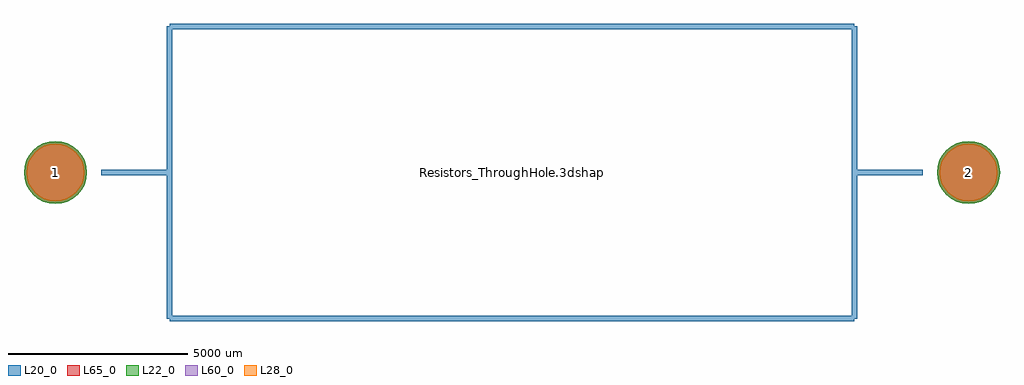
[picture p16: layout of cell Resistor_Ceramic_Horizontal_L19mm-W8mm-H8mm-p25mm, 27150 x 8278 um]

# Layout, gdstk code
import gdstk
lib = gdstk.Library(unit=1e-6, precision=1e-09)
def P(c, l, *ps):  # polygons
    for p in ps: c.add(gdstk.Polygon(p, *l))
L20_0 = (20, 0)
L22_0 = (22, 0)
L28_0 = (28, 0)
L60_0 = (60, 0)
L65_0 = (65, 0)

resistor_ceramic_horizon = lib.new_cell('Resistor_Ceramic_Horizontal_L19mm-W8mm-H8mm-p25mm')
P(resistor_ceramic_horizon, L22_0, [(13575,0),(13558.187,170.704),(13508.395,334.848),(13427.536,486.124),(13318.718,618.718),(13186.124,727.536),(13034.848,808.395),(12870.704,858.187),(12700,875),(12529.296,858.187),(12365.152,808.395),(12213.876,727.536),(12081.282,618.718),(11972.464,486.124),(11891.605,334.848),(11841.813,170.704),(11825,0),(11841.813,-170.704),(11891.605,-334.848),(11972.464,-486.124),(12081.282,-618.718),(12213.876,-727.536),(12365.152,-808.395),(12529.296,-858.187),(12700,-875),(12870.704,-858.187),(13034.848,-808.395),(13186.124,-727.536),(13318.718,-618.718),(13427.536,-486.124),(13508.395,-334.848),(13558.187,-170.704)],
  [(-11825,0),(-11841.813,170.704),(-11891.605,334.848),(-11972.464,486.124),(-12081.282,618.718),(-12213.876,727.536),(-12365.152,808.395),(-12529.296,858.187),(-12700,875),(-12870.704,858.187),(-13034.848,808.395),(-13186.124,727.536),(-13318.718,618.718),(-13427.536,486.124),(-13508.395,334.848),(-13558.187,170.704),(-13575,0),(-13558.187,-170.704),(-13508.395,-334.848),(-13427.536,-486.124),(-13318.718,-618.718),(-13186.124,-727.536),(-13034.848,-808.395),(-12870.704,-858.187),(-12700,-875),(-12529.296,-858.187),(-12365.152,-808.395),(-12213.876,-727.536),(-12081.282,-618.718),(-11972.464,-486.124),(-11891.605,-334.848),(-11841.813,-170.704)])
P(resistor_ceramic_horizon, L28_0, [(13500,0),(13484.628,156.072),(13439.104,306.147),(13365.176,444.456),(13265.685,565.685),(13144.456,665.176),(13006.147,739.104),(12856.072,784.628),(12700,800),(12543.928,784.628),(12393.853,739.104),(12255.544,665.176),(12134.315,565.685),(12034.824,444.456),(11960.896,306.147),(11915.372,156.072),(11900,0),(11915.372,-156.072),(11960.896,-306.147),(12034.824,-444.456),(12134.315,-565.685),(12255.544,-665.176),(12393.853,-739.104),(12543.928,-784.628),(12700,-800),(12856.072,-784.628),(13006.147,-739.104),(13144.456,-665.176),(13265.685,-565.685),(13365.176,-444.456),(13439.104,-306.147),(13484.628,-156.072)],
  [(-11900,0),(-11915.372,156.072),(-11960.896,306.147),(-12034.824,444.456),(-12134.315,565.685),(-12255.544,665.176),(-12393.853,739.104),(-12543.928,784.628),(-12700,800),(-12856.072,784.628),(-13006.147,739.104),(-13144.456,665.176),(-13265.685,565.685),(-13365.176,444.456),(-13439.104,306.147),(-13484.628,156.072),(-13500,0),(-13484.628,-156.072),(-13439.104,-306.147),(-13365.176,-444.456),(-13265.685,-565.685),(-13144.456,-665.176),(-13006.147,-739.104),(-12856.072,-784.628),(-12700,-800),(-12543.928,-784.628),(-12393.853,-739.104),(-12255.544,-665.176),(-12134.315,-565.685),(-12034.824,-444.456),(-11960.896,-306.147),(-11915.372,-156.072)])
P(resistor_ceramic_horizon, L60_0, [(13500,0),(13484.628,156.072),(13439.104,306.147),(13365.176,444.456),(13265.685,565.685),(13144.456,665.176),(13006.147,739.104),(12856.072,784.628),(12700,800),(12543.928,784.628),(12393.853,739.104),(12255.544,665.176),(12134.315,565.685),(12034.824,444.456),(11960.896,306.147),(11915.372,156.072),(11900,0),(11915.372,-156.072),(11960.896,-306.147),(12034.824,-444.456),(12134.315,-565.685),(12255.544,-665.176),(12393.853,-739.104),(12543.928,-784.628),(12700,-800),(12856.072,-784.628),(13006.147,-739.104),(13144.456,-665.176),(13265.685,-565.685),(13365.176,-444.456),(13439.104,-306.147),(13484.628,-156.072)],
  [(-11900,0),(-11915.372,156.072),(-11960.896,306.147),(-12034.824,444.456),(-12134.315,565.685),(-12255.544,665.176),(-12393.853,739.104),(-12543.928,784.628),(-12700,800),(-12856.072,784.628),(-13006.147,739.104),(-13144.456,665.176),(-13265.685,565.685),(-13365.176,444.456),(-13439.104,306.147),(-13484.628,156.072),(-13500,0),(-13484.628,-156.072),(-13439.104,-306.147),(-13365.176,-444.456),(-13265.685,-565.685),(-13144.456,-665.176),(-13006.147,-739.104),(-12856.072,-784.628),(-12700,-800),(-12543.928,-784.628),(-12393.853,-739.104),(-12255.544,-665.176),(-12134.315,-565.685),(-12034.824,-444.456),(-11960.896,-306.147),(-11915.372,-156.072)])
P(resistor_ceramic_horizon, L65_0, [(13575,0),(13558.187,170.704),(13508.395,334.848),(13427.536,486.124),(13318.718,618.718),(13186.124,727.536),(13034.848,808.395),(12870.704,858.187),(12700,875),(12529.296,858.187),(12365.152,808.395),(12213.876,727.536),(12081.282,618.718),(11972.464,486.124),(11891.605,334.848),(11841.813,170.704),(11825,0),(11841.813,-170.704),(11891.605,-334.848),(11972.464,-486.124),(12081.282,-618.718),(12213.876,-727.536),(12365.152,-808.395),(12529.296,-858.187),(12700,-875),(12870.704,-858.187),(13034.848,-808.395),(13186.124,-727.536),(13318.718,-618.718),(13427.536,-486.124),(13508.395,-334.848),(13558.187,-170.704)],
  [(-11825,0),(-11841.813,170.704),(-11891.605,334.848),(-11972.464,486.124),(-12081.282,618.718),(-12213.876,727.536),(-12365.152,808.395),(-12529.296,858.187),(-12700,875),(-12870.704,858.187),(-13034.848,808.395),(-13186.124,727.536),(-13318.718,618.718),(-13427.536,486.124),(-13508.395,334.848),(-13558.187,170.704),(-13575,0),(-13558.187,-170.704),(-13508.395,-334.848),(-13427.536,-486.124),(-13318.718,-618.718),(-13186.124,-727.536),(-13034.848,-808.395),(-12870.704,-858.187),(-12700,-875),(-12529.296,-858.187),(-12365.152,-808.395),(-12213.876,-727.536),(-12081.282,-618.718),(-11972.464,-486.124),(-11891.605,-334.848),(-11841.813,-170.704)])
resistor_ceramic_horizon.add(gdstk.FlexPath([(9525,4064),(-9525,4064)], 149.998, ends="flush", simple_path=True, layer=20, datatype=0))  # L20_0
resistor_ceramic_horizon.add(gdstk.FlexPath([(9525,-4064),(9525,4064)], 149.998, ends="flush", simple_path=True, layer=20, datatype=0))  # L20_0
resistor_ceramic_horizon.add(gdstk.FlexPath([(-9525,-4064),(9525,-4064)], 149.998, ends="flush", simple_path=True, layer=20, datatype=0))  # L20_0
resistor_ceramic_horizon.add(gdstk.FlexPath([(-9525,4064),(-9525,-4064)], 149.998, ends="flush", simple_path=True, layer=20, datatype=0))  # L20_0
resistor_ceramic_horizon.add(gdstk.FlexPath([(-9525,0),(-11430,0)], 149.998, ends="flush", simple_path=True, layer=20, datatype=0))  # L20_0
resistor_ceramic_horizon.add(gdstk.FlexPath([(9525,0),(11430,0)], 149.998, ends="flush", simple_path=True, layer=20, datatype=0))  # L20_0
resistor_ceramic_horizon.add(gdstk.Label('Resistors_ThroughHole.3dshapes/Resistor_Ceramic_Horizontal_L19mm-W8mm-H8mm-p25mm.wrl', (0,0), layer=12, texttype=0))
resistor_ceramic_horizon.add(gdstk.Label('2', (12700,0), layer=28, texttype=0))
resistor_ceramic_horizon.add(gdstk.Label('1', (-12700,0), layer=28, texttype=0))
resistor_ceramic_horizon.add(gdstk.Label('type', (635,-6350), layer=9, texttype=0))
resistor_ceramic_horizon.add(gdstk.Label('devicename', (0,5715), layer=9, texttype=0))

lib.write_gds('Resistor_Ceramic_Horizontal_L19mm-W8mm-H8mm-p25mm.gds')
